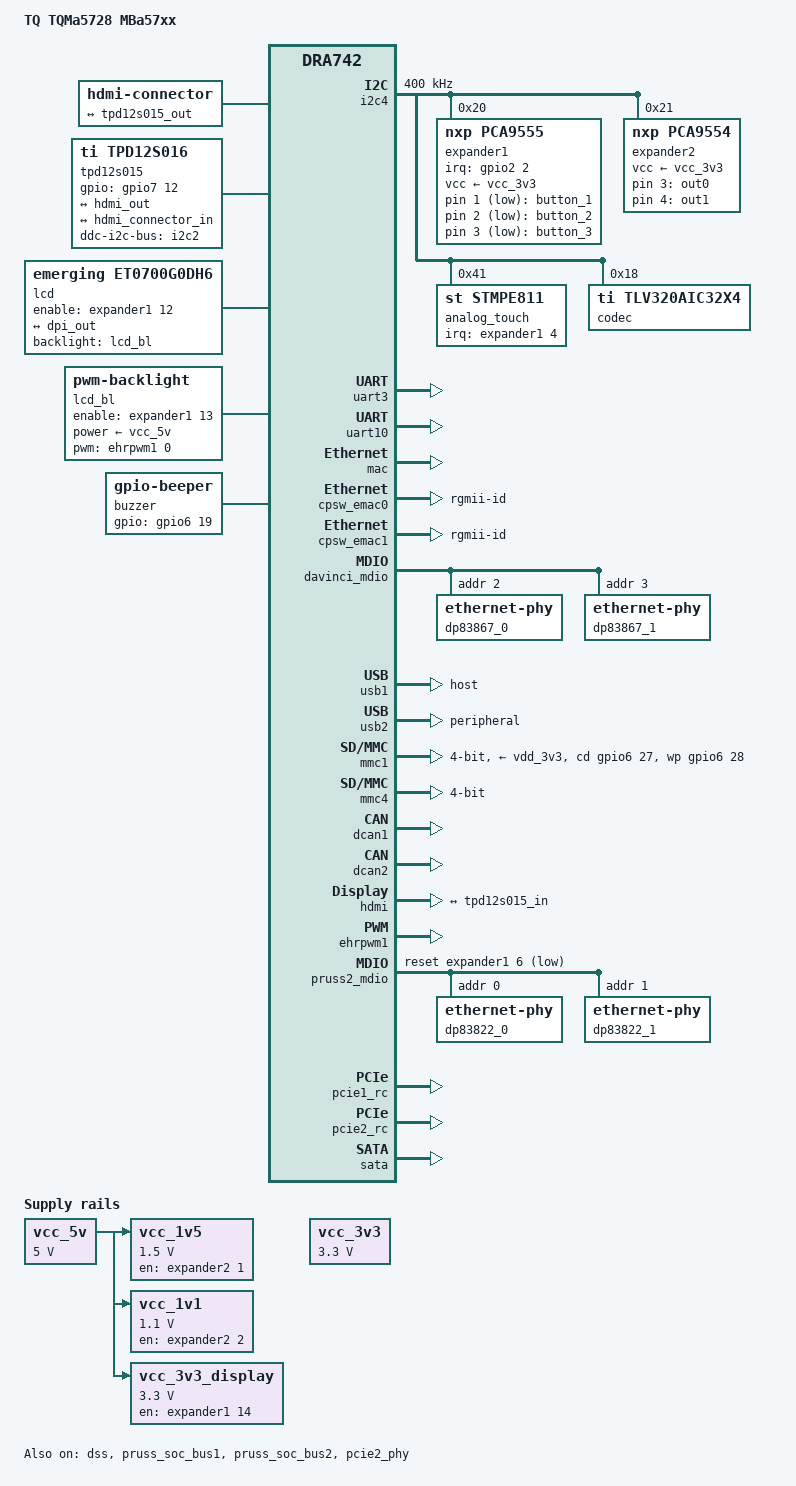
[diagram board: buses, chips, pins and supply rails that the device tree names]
/*
 * Copyright (C) 2015-2016 Texas Instruments Incorporated - http://www.ti.com/
 *
 * Copyright (C) 2017 TQ Systems (ported AM57xx IDK to TQMa57xx)
 *
 * Author: Stefan Lange <s.lange@gateware.de>
 *
 * This program is free software; you can redistribute it and/or modify
 * it under the terms of the GNU General Public License version 2 as
 * published by the Free Software Foundation.
 */

/dts-v1/;

#include "tqma572x.dtsi"
#include <dt-bindings/gpio/gpio.h>
#include <dt-bindings/interrupt-controller/irq.h>
#include <dt-bindings/net/ti-dp83867.h>
#include <dt-bindings/input/input.h>

/ {
	model = "TQ TQMa5728 MBa57xx";
	compatible = "tq,tqma5728-mba57xx", "tq,tqma5728", "ti,am5728",
		     "ti,dra742", "ti,dra74", "ti,dra7";

	aliases {
		display0 = &hdmi0;
		display1 = &lcd;
		ethernet2 = &pruss2_emac0;
		ethernet3 = &pruss2_emac1;
	};


        chosen {
                stdout-path = &uart3;
        };

        buttons: user_buttons {
                compatible = "gpio-keys";
        };

	vcc_5v: fixedregulator-vcc_5v {
		compatible = "regulator-fixed";
		regulator-name = "VCC5V";
		regulator-min-microvolt = <5000000>;
		regulator-max-microvolt = <5000000>;
		regulator-always-on;
		regulator-boot-on;
	};

	vcc_3v3: fixedregulator-vcc_3v3 {
		compatible = "regulator-fixed";
		regulator-name = "VCC3V3";
		regulator-min-microvolt = <3300000>;
		regulator-max-microvolt = <3300000>;
		regulator-always-on;
		regulator-boot-on;
	};

	/* miniPCIe */
	vcc_1v5: fixedregulator-vcc_1v5 {
                /* TPS62090RGT */
                compatible = "regulator-fixed";
                regulator-name = "VCC1V5";
		vin-supply = <&vcc_5v>;
                regulator-min-microvolt = <1500000>;
                regulator-max-microvolt = <1500000>;
		gpio = <&expander2 1 GPIO_ACTIVE_HIGH>;
		enable-active-high;
		regulator-boot-on;
        };

	/* USB hub */
        vcc_1v1: fixedregulator-vcc_1v1 {
                /* TPS62090RGT */
                compatible = "regulator-fixed";
                regulator-name = "VCC1V1";
		vin-supply = <&vcc_5v>;
                regulator-min-microvolt = <1100000>;
                regulator-max-microvolt = <1100000>;
                gpio = <&expander2 2 GPIO_ACTIVE_HIGH>;
                enable-active-high;
                regulator-boot-on;
        };

        vcc_3v3_display: fixedregulator-vcc_3v3_display {
                /* TPS62090RGT */
                compatible = "regulator-fixed";
                regulator-name = "VCC3V3_DISPLAY";
		vin-supply = <&vcc_5v>;
                regulator-min-microvolt = <3300000>;
                regulator-max-microvolt = <3300000>;
                gpio = <&expander1 14 GPIO_ACTIVE_HIGH>;
                enable-active-high;
		regulator-boot-on;
        };

        leds-iio {
                status = "okay";
                compatible = "gpio-leds";
                led-out0 {
                        label = "out0";
                        gpios = <&expander2 3 GPIO_ACTIVE_HIGH>;
                        default-state = "off";
                };

                led-out1 {
                        label = "out1";
                        gpios = <&expander2 4 GPIO_ACTIVE_HIGH>;
                        default-state = "off";
                };
        };

        hdmi0: connector@0 {
                compatible = "hdmi-connector";
                label = "hdmi";
                type = "a";
                port {
                        hdmi_connector_in: endpoint {
                                remote-endpoint = <&tpd12s015_out>;
                        };
                };
        };

	/* HDMI companion chip */
        tpd12s015: encoder@0 {
                compatible = "ti,tpd12s016", "ti,tpd12s015";
                gpios = <0>, /* optional CT_CP_HPD */
                        <0>, /* optional LS_OE */
                        <&gpio7 12 GPIO_ACTIVE_HIGH>;   /* HPD */
	        pinctrl-names = "ddc";
	        pinctrl-0 = <&hdmi_i2c_pins_ddc>;
		ddc-i2c-bus = <&i2c2>;

                ports {
                        #address-cells = <1>;
                        #size-cells = <0>;
                        port@0 {
                                reg = <0>;
                                tpd12s015_in: endpoint@0 {
                                        remote-endpoint = <&hdmi_out>;
                                };
                        };
                        port@1 {
                                reg = <1>;
                                tpd12s015_out: endpoint@0 {
                                        remote-endpoint = <&hdmi_connector_in>;
                                };
                        };
                };
        };

        /* Dual-MAC Ethernet application node on PRU-ICSS2 */
        pruss2_eth {
                compatible = "ti,am57-prueth";
                pruss = <&pruss2>;
                sram = <&ocmcram1>;
                interrupt-parent = <&pruss2_intc>;

                pruss2_emac0: ethernet-mii0 {
			phy-handle = <&dp83822_0>;
                        phy-mode = "mii";
                        interrupts = <20>, <22>;
                        interrupt-names = "rx", "tx";
                        /* Filled in by bootloader */
                        local-mac-address = [00 00 00 00 00 00];
                };

                pruss2_emac1: ethernet-mii1 {
			phy-handle = <&dp83822_1>;
                        phy-mode = "mii";
                        interrupts = <21>, <23>;
                        interrupt-names = "rx", "tx";
                        /* Filled in by bootloader */
                        local-mac-address = [00 00 00 00 00 00];
                };
        };

	/* ET0700G0DH6 + ETM0700G0DH6 + ETM0700G0BDH6 + S070WV106H-CT44 */
	lcd: display {
		compatible = "emerging,et0700g0dh6", "panel-dpi";
		bits-per-pixel = <32>; /* 32: RGB888/666 mode */
		/* change it to 18 for new hw rev. */
		bus-width = <24>;
                label = "lcd";
                backlight = <&lcd_bl>;
		/* lcd power enable LCD_PWR_EN */
		enable-gpios = <&expander1 12 GPIO_ACTIVE_HIGH>;

		panel-timing {
			clock-frequency = <33260000>;
			hactive = <800>;
			vactive = <480>;
			hback-porch = <216>;
			hfront-porch = <40>;
			vback-porch = <35>;
			vfront-porch = <10>;
			hsync-len = <128>;
			vsync-len = <2>;
			hsync-active = <0>;
			vsync-active = <0>;
			de-active = <1>;
			pixelclk-active = <0>;
                };

		ports {
			#address-cells = <1>;
			#size-cells = <0>;

			port@0 {
				reg = <0>;
				lcd_in: endpoint {
					remote-endpoint = <&dpi_out>;
					data-lines = <24>;
				};
			};

			port@1 {
				reg = <1>;
				lcd_out: endpoint {
					/*
					 * lanes and remote-endpoint defined per
					 * panel.
					 */
				};
                        };
                };
        };

        /* TODO: template from am57xx-evm-common.dtsi
         * check with actual TQ display */
        lcd_bl: backlight {
                compatible = "pwm-backlight";
                pwms = <&ehrpwm1 0 50000 0>;
                /* Anything lower than 241 is no longer visible */
                brightness-levels = <0 243 245 247 249 251 252 253 255>;
                default-brightness-level = <8>;
		pinctrl-names = "default";
		pinctrl-0 = <&backlight_pins_default>;
		enable-gpios = <&expander1 13 GPIO_ACTIVE_HIGH>;
		power-supply = <&vcc_5v>;
        };

        buzzer {
                compatible = "gpio-beeper";
		gpios = <&gpio6 19 GPIO_ACTIVE_HIGH>;
        };
};

&dra7_pmx_core {
        dcan1_pins_default: dcan1_pins_default {
                pinctrl-single,pins = <
                        DRA7XX_CORE_IOPAD(0x37d0, PIN_OUTPUT_PULLUP | MUX_MODE0)        /* dcan1_tx */
                        DRA7XX_CORE_IOPAD(0x37d4, PIN_INPUT_PULLUP | MUX_MODE0)         /* dcan1_rx */
                >;
        };

        dcan1_pins_sleep: dcan1_pins_sleep {
                pinctrl-single,pins = <
                        DRA7XX_CORE_IOPAD(0x37d0, MUX_MODE15 | PULL_UP) /* dcan1_tx.off */
                        DRA7XX_CORE_IOPAD(0x37d4, MUX_MODE15 | PULL_UP) /* dcan1_rx.off */
                >;
        };

	dcan2_pins_default: dcan2_pins_default {
                pinctrl-single,pins = <
                        DRA7XX_CORE_IOPAD(0x3688, PIN_OUTPUT_PULLUP | MUX_MODE2)        /* dcan2_tx */
                        DRA7XX_CORE_IOPAD(0x368C, PIN_INPUT_PULLUP | MUX_MODE2)         /* dcan2_rx */
                >;
        };

        dcan2_pins_sleep: dcan2_pins_sleep {
                pinctrl-single,pins = <
                        DRA7XX_CORE_IOPAD(0x3688, MUX_MODE15 | PULL_UP) /* dcan2_tx.off */
                        DRA7XX_CORE_IOPAD(0x368C, MUX_MODE15 | PULL_UP) /* dcan2_rx.off */
                >;
        };

        backlight_pins_default: backlight_pins_default {
                pinctrl-single,pins = <
                        DRA7XX_CORE_IOPAD(0x3774, PIN_INPUT_PULLDOWN | MUX_MODE10) /* gpio6_10.ehrpwm2A */
                >;
	};

        hdmi_i2c_pins_ddc: pinmux_hdmi_i2c_pins_ddc {
                pinctrl-single,pins = <
                        DRA7XX_CORE_IOPAD(0x3808, PIN_INPUT | MUX_MODE1) /* i2c2_sda.hdmi1_ddc_scl */
                        DRA7XX_CORE_IOPAD(0x380c, PIN_INPUT | MUX_MODE1) /* i2c2_scl.hdmi1_ddc_sda */
                >;
        };
	gpio2_pins: pinmux_gpio2_pins {
		pinctrl-single,pins = <
			DRA7XX_CORE_IOPAD(0x3470, MUX_MODE14 | PIN_INPUT | WAKEUP_EN) /* gpmc_a12.gpio2_2 */
		>;
	};
};

&i2c4 {
	status = "okay";
	clock-frequency = <400000>;

	/* Input/Output GPIO Port Expander 16 bit */
        expander1: pca9555@20 {
                compatible = "nxp,pca9555";
                reg = <0x20>;
		interrupt-parent = <&gpio2>;
                interrupts = <2 IRQ_TYPE_EDGE_FALLING>;
                interrupt-controller;
                interrupt-cells = <2>;
                gpio-controller;
		#gpio-cells = <2>;
		vcc-supply = <&vcc_3v3>;
                status = "okay";
		wakeup-source;
        };

	/* Output GPIO Port Expander 8 bit */
	expander2: pca9554@21 {
		compatible = "nxp,pca9554";
		reg = <0x21>;
		#gpio-cells = <2>;
		gpio-controller;
		vcc-supply = <&vcc_3v3>;
		status = "okay";
	};

	/* USB Hub USB4604i
	 * I2C not connected; R375, R276 not placed
	 */

	/* touch controller */
        analog_touch: stmpe811@41 {
                compatible = "st,stmpe811";
                reg = <0x41>;
		/* touch interrupt TOUCH_INT#, GPIO Port Expander 1 0_4 */
                interrupts = <4 IRQ_TYPE_EDGE_FALLING>;
                interrupt-parent = <&expander1>;
                interrupt-controller;
                status = "okay";

                stmpe_touchscreen {
                        compatible = "st,stmpe-ts";
                        st,adc-freq = <1>;      /* 3.25 MHz ADC clock speed */
                        st,ave-ctrl = <3>;      /* 8 sample average control */
                        st,fraction-z = <7>;    /* 7 length fractional part in z */
                        /*
                         * 50 mA typical 80 mA max touchscreen drivers
                         * current limit value
                         */
                        st,i-drive = <1>;
                        st,mod-12b = <1>;       /* 12-bit ADC */
                        st,ref-sel = <0>;       /* internal ADC reference */
                        st,sample-time = <4>;   /* ADC converstion time: 80 clocks */
                        st,settling = <3>;      /* 1 ms panel driver settling time */
                        st,touch-det-delay = <5>; /* 5 ms touch detect interrupt delay */
                };
        };

	/* audio codec */
	/* TODO: dummy, audio not implemented yet */
        codec: tlv320aic32x4@18 {
                compatible = "ti,tlv320aic32x4";
                reg = <0x18>;
	};
};

/* Debug UART */
&uart3 {
        status = "okay";
        interrupts-extended = <&crossbar_mpu GIC_SPI 69 IRQ_TYPE_LEVEL_HIGH
                               &dra7_pmx_core 0x3c0>;
	wakeup-source;
};

/* RS485 */
&uart10 {
        status = "okay";
        interrupts-extended = <&crossbar_mpu GIC_SPI 221 IRQ_TYPE_LEVEL_HIGH
                               &dra7_pmx_core 0x170>;
};

&buttons {
	#address-cells = <1>;
	#size-cells = <0>;

        button0 {
                label = "button_1";
                gpios = <&expander1 1 GPIO_ACTIVE_LOW>;
		linux,code = <KEY_HOME>;
                wakeup-source;
        };

        button1 {
                label = "button_2";
                gpios = <&expander1 2 GPIO_ACTIVE_LOW>;
		linux,code = <KEY_UP>;
                wakeup-source;
        };

	button2 {
                label = "button_3";
                gpios = <&expander1 3 GPIO_ACTIVE_LOW>;
		linux,code = <KEY_DOWN>;
                wakeup-source;
        };
};

&mac {
        status = "okay";
        dual_emac;
};

&cpsw_emac0 {
        phy_id = <&davinci_mdio>, <2>;
	phy-mode = "rgmii-id";
        dual_emac_res_vlan = <1>;
};

&cpsw_emac1 {
        phy_id = <&davinci_mdio>, <3>;
	phy-mode = "rgmii-id";
        dual_emac_res_vlan = <2>;
};

&davinci_mdio {
	dp83867_0: ethernet-phy@2 {
		reg = <2>;
		ti,rx-internal-delay = <DP83867_RGMIIDCTL_2_75_NS>;
		ti,tx-internal-delay = <DP83867_RGMIIDCTL_250_PS>;
		ti,fifo-depth = <DP83867_PHYCR_FIFO_DEPTH_8_B_NIB>;
		ti,min-output-impedance;
	};

	dp83867_1: ethernet-phy@3 {
		reg = <3>;
		ti,rx-internal-delay = <DP83867_RGMIIDCTL_2_75_NS>;
		ti,tx-internal-delay = <DP83867_RGMIIDCTL_250_PS>;
		ti,fifo-depth = <DP83867_PHYCR_FIFO_DEPTH_8_B_NIB>;
		ti,min-output-impedance;
	};
};

&usb2_phy1 {
	/* Reference usb hub supply here.
	 * Otherwise if usb hub supply is referenced nowhere it is
	 * disabled by the kernel.
	 */
	phy-supply = <&vcc_1v1>;
};

&usb1 {
        dr_mode = "host";
};

&usb2 {
	dr_mode = "peripheral";
};

/* sd card */
&mmc1 {
        status = "okay";
        vmmc-supply = <&vdd_3v3>;
        vmmc_aux-supply = <&ldo1_reg>;
        bus-width = <4>;
        cd-gpios = <&gpio6 27 0>; /* gpio 219 */
	wp-gpios = <&gpio6 28 0>; /* gpio 220 */

	pinctrl-names = "default", "hs";
        pinctrl-0 = <&mmc1_pins_default>;
        pinctrl-1 = <&mmc1_pins_hs>;
};

/* SDIO */
&mmc4 {
        status = "okay";
        bus-width = <4>;
        pinctrl-names = "default";
        pinctrl-0 = <&mmc4_pins_default>;
};

&dcan1 {
        status = "okay";
        pinctrl-names = "default", "sleep", "active";
        pinctrl-0 = <&dcan1_pins_sleep>;
        pinctrl-1 = <&dcan1_pins_sleep>;
        pinctrl-2 = <&dcan1_pins_default>;
};

&dcan2 {
        status = "okay";
        pinctrl-names = "default", "sleep", "active";
        pinctrl-0 = <&dcan2_pins_sleep>;
        pinctrl-1 = <&dcan2_pins_sleep>;
        pinctrl-2 = <&dcan2_pins_default>;
};

&hdmi {
        status = "okay";
        vdda-supply = <&ldo4_reg>;

        port {
                hdmi_out: endpoint {
                        remote-endpoint = <&tpd12s015_in>;
                };
        };
};

/* display subsystem */
&dss {
        status = "okay";
        vdda_video-supply = <&ldoln_reg>;

        ports {
                #address-cells = <1>;
                #size-cells = <0>;

		port {
                        dpi_out: endpoint {
                                remote-endpoint = <&lcd_in>;
                                data-lines = <24>;
                        };
                };
        };
};

&ehrpwm1 {
        status = "okay";
};

&mailbox3 {
        status = "okay";
        mbox_pru1_0: mbox_pru1_0 {
                status = "okay";
        };
        mbox_pru1_1: mbox_pru1_1 {
                status = "okay";
        };
};

&mailbox4 {
        status = "okay";
        mbox_pru2_0: mbox_pru2_0 {
                status = "okay";
        };
        mbox_pru2_1: mbox_pru2_1 {
                status = "okay";
        };
};

&pruss_soc_bus1 {
        status = "okay";
        pruss1: pruss@4b200000 {
                status = "okay";
                pru1_0: pru@4b234000 {
                        interrupt-parent = <&pruss1_intc>;
                        interrupts = <16>, <17>;
                        interrupt-names = "vring", "kick";
                        status = "okay";
                };
                pru1_1: pru@4b238000 {
                        interrupt-parent = <&pruss1_intc>;
                        interrupts = <18>, <19>;
                        interrupt-names = "vring", "kick";
                        status = "okay";
                };
        };
};

&pruss_soc_bus2 {
        status = "okay";
        pruss2: pruss@4b280000 {
                status = "okay";
                pru2_0: pru@4b2b4000 {
                        interrupt-parent = <&pruss2_intc>;
                        interrupts = <16>, <17>;
                        interrupt-names = "vring", "kick";
                        status = "okay";
                };
                pru2_1: pru@4b2b8000 {
                        interrupt-parent = <&pruss2_intc>;
                        interrupts = <18>, <19>;
                        interrupt-names = "vring", "kick";
                        status = "okay";
                };
        };
};

&pruss2_mdio {
        status = "okay";
	reset-gpios = <&expander1 6 GPIO_ACTIVE_LOW>,
		      <&expander1 7 GPIO_ACTIVE_LOW>;
	reset-delay-us = <2>;
	dp83822_0: ethernet-phy@0 {
                reg = <0>;
        };

	dp83822_1: ethernet-phy@1 {
                reg = <1>;
        };
};

&omap_dwc3_2 {
	extcon = <&extcon_usb2>;
};

&extcon_usb2 {
	id-gpio = <&gpio1 3 GPIO_ACTIVE_HIGH>;
	vbus-gpio = <&gpio3 23 GPIO_ACTIVE_HIGH>;
	/* vbus-gpio: pad USB2_DRVVBUS, mode 0 */
};

/* PCIe lane 0 PCIe x4 connector */
&pcie1_rc {
	status = "okay";
};

/* PCIe lane 1 mPCIe connector */
&pcie2_rc {
        status = "okay";
        /* PCIe reset R532 not placed */
};

&pcie2_phy {
	status = "okay";
};

&sata {
        status = "okay";
};

&gpio2 {
	pinctrl-names = "default";
	pinctrl-0 = <&gpio2_pins>;
};
